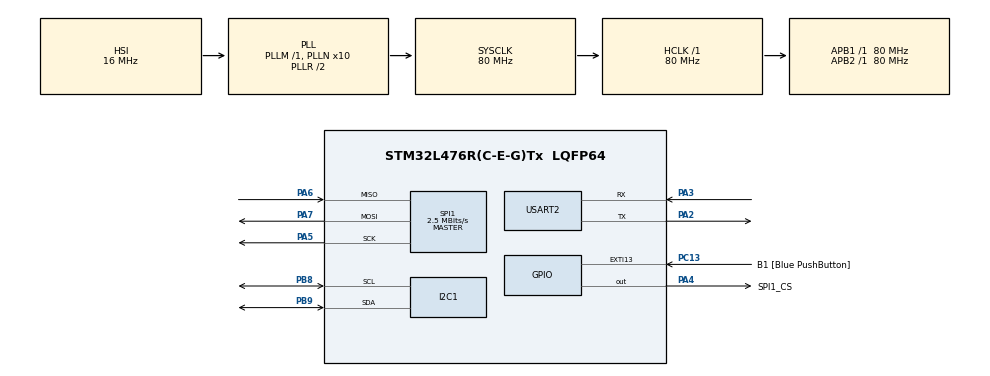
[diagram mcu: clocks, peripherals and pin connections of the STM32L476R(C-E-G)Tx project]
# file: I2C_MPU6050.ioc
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Dma.I2C1_RX.0.Direction=DMA_PERIPH_TO_MEMORY
Dma.I2C1_RX.0.Instance=DMA2_Channel6
Dma.I2C1_RX.0.MemDataAlignment=DMA_MDATAALIGN_BYTE
Dma.I2C1_RX.0.MemInc=DMA_MINC_ENABLE
Dma.I2C1_RX.0.Mode=DMA_NORMAL
Dma.I2C1_RX.0.PeriphDataAlignment=DMA_PDATAALIGN_BYTE
Dma.I2C1_RX.0.PeriphInc=DMA_PINC_DISABLE
Dma.I2C1_RX.0.Priority=DMA_PRIORITY_LOW
Dma.Request0=I2C1_RX
Dma.Request1=SPI1_RX
Dma.Request2=SPI1_TX
Dma.Request3=USART2_TX
Dma.SPI1_RX.1.Direction=DMA_PERIPH_TO_MEMORY
Dma.SPI1_RX.1.Instance=DMA1_Channel2
Dma.SPI1_RX.1.MemDataAlignment=DMA_MDATAALIGN_BYTE
Dma.SPI1_RX.1.MemInc=DMA_MINC_ENABLE
Dma.SPI1_RX.1.Mode=DMA_NORMAL
Dma.SPI1_RX.1.PeriphDataAlignment=DMA_PDATAALIGN_BYTE
Dma.SPI1_RX.1.PeriphInc=DMA_PINC_DISABLE
Dma.SPI1_RX.1.Priority=DMA_PRIORITY_LOW
Dma.SPI1_TX.2.Direction=DMA_MEMORY_TO_PERIPH
Dma.SPI1_TX.2.Instance=DMA1_Channel3
Dma.SPI1_TX.2.MemDataAlignment=DMA_MDATAALIGN_BYTE
Dma.SPI1_TX.2.MemInc=DMA_MINC_ENABLE
Dma.SPI1_TX.2.Mode=DMA_NORMAL
Dma.SPI1_TX.2.PeriphDataAlignment=DMA_PDATAALIGN_BYTE
Dma.SPI1_TX.2.PeriphInc=DMA_PINC_DISABLE
Dma.SPI1_TX.2.Priority=DMA_PRIORITY_LOW
Dma.USART2_TX.3.Direction=DMA_MEMORY_TO_PERIPH
Dma.USART2_TX.3.Instance=DMA1_Channel7
Dma.USART2_TX.3.MemDataAlignment=DMA_MDATAALIGN_BYTE
Dma.USART2_TX.3.MemInc=DMA_MINC_ENABLE
Dma.USART2_TX.3.Mode=DMA_NORMAL
Dma.USART2_TX.3.PeriphDataAlignment=DMA_PDATAALIGN_BYTE
Dma.USART2_TX.3.PeriphInc=DMA_PINC_DISABLE
Dma.USART2_TX.3.Priority=DMA_PRIORITY_LOW
I2C1.CustomTiming=Disabled
I2C1.Timing=0x10909CEC
Mcu.Family=STM32L4
Mcu.Name=STM32L476R(C-E-G)Tx
Mcu.Package=LQFP64
NVIC.DMA1_Channel2_IRQn=true\:0\:0\:false\:false\:true\:false\:true\:true
NVIC.DMA1_Channel3_IRQn=true\:0\:0\:false\:false\:true\:false\:true\:true
NVIC.DMA1_Channel7_IRQn=true\:0\:0\:false\:false\:true\:false\:true\:true
NVIC.DMA2_Channel6_IRQn=true\:0\:0\:false\:false\:true\:false\:true\:true
NVIC.I2C1_ER_IRQn=true\:1\:0\:true\:false\:true\:true\:true\:true
NVIC.I2C1_EV_IRQn=true\:1\:0\:true\:false\:true\:true\:true\:true
NVIC.PriorityGroup=NVIC_PRIORITYGROUP_4
NVIC.TIM2_IRQn=true\:0\:0\:false\:false\:true\:true\:true\:true
NVIC.USART2_IRQn=true\:0\:0\:false\:false\:true\:true\:true\:true
PA13\ (JTMS-SWDIO).GPIO_Label=TMS
PA13\ (JTMS-SWDIO).Mode=Serial_Wire
PA13\ (JTMS-SWDIO).Signal=SYS_JTMS-SWDIO
PA14\ (JTCK-SWCLK).GPIO_Label=TCK
PA14\ (JTCK-SWCLK).Mode=Serial_Wire
PA14\ (JTCK-SWCLK).Signal=SYS_JTCK-SWCLK
PA2.Mode=Asynchronous
PA2.Signal=USART2_TX
PA3.Mode=Asynchronous
PA3.Signal=USART2_RX
PA4.GPIO_Label=SPI1_CS
PA4.Signal=GPIO_Output
PA5.Mode=Full_Duplex_Master
PA5.Signal=SPI1_SCK
PA6.Mode=Full_Duplex_Master
PA6.Signal=SPI1_MISO
PA7.Mode=Full_Duplex_Master
PA7.Signal=SPI1_MOSI
PB3\ (JTDO-TRACESWO).GPIO_Label=SWO
PB3\ (JTDO-TRACESWO).Signal=SYS_JTDO-SWO
PB8.Mode=I2C
PB8.Signal=I2C1_SCL
PB9.Mode=I2C
PB9.Signal=I2C1_SDA
PC13.GPIO_Label=B1 [Blue PushButton]
PC13.GPIO_ModeDefaultEXTI=GPIO_MODE_IT_FALLING
PC13.GPIO_PuPd=GPIO_NOPULL
PC13.Signal=GPXTI13
PC14-OSC32_IN\ (PC14).Mode=LSE-External-Oscillator
PC14-OSC32_IN\ (PC14).Signal=RCC_OSC32_IN
PC15-OSC32_OUT\ (PC15).Mode=LSE-External-Oscillator
PC15-OSC32_OUT\ (PC15).Signal=RCC_OSC32_OUT
PH0-OSC_IN\ (PH0).Signal=RCC_OSC_IN
PH1-OSC_OUT\ (PH1).Signal=RCC_OSC_OUT
ProjectManager.HeapSize=0x200
ProjectManager.StackSize=0x400
ProjectManager.TargetToolchain=STM32CubeIDE
RCC.ADCFreq_Value=64000000
RCC.AHBFreq_Value=80000000
RCC.APB1Freq_Value=80000000
RCC.APB1TimFreq_Value=80000000
RCC.APB2Freq_Value=80000000
RCC.APB2TimFreq_Value=80000000
RCC.CortexFreq_Value=80000000
RCC.HCLKFreq_Value=80000000
RCC.HSE_VALUE=8000000
RCC.HSI_VALUE=16000000
RCC.MSI_VALUE=4000000
RCC.PLLN=10
RCC.PLLSourceVirtual=RCC_PLLSOURCE_HSI
RCC.PREFETCH_ENABLE=1
RCC.SYSCLKFreq_VALUE=80000000
RCC.SYSCLKSource=RCC_SYSCLKSOURCE_PLLCLK
RCC.USBFreq_Value=64000000
RCC.VCOOutputFreq_Value=160000000
SPI1.BaudRatePrescaler=SPI_BAUDRATEPRESCALER_32
SPI1.CLKPhase=SPI_PHASE_2EDGE
SPI1.CLKPolarity=SPI_POLARITY_HIGH
SPI1.CalculateBaudRate=2.5 MBits/s
SPI1.DataSize=SPI_DATASIZE_8BIT
SPI1.Direction=SPI_DIRECTION_2LINES
SPI1.Mode=SPI_MODE_MASTER
SPI1.VirtualType=VM_MASTER
STMicroelectronics.X-CUBE-ALGOBUILD.1.3.0.LibraryCcDSPOoLibraryJjDSPOoLibrary=true
TIM2.Period=9999
TIM2.Prescaler=799
USART2.VirtualMode-Asynchronous=VM_ASYNC
VP_STMicroelectronics.X-CUBE-ALGOBUILD_VS_DSPOoLibraryJjLibrary_1.3.0_1.3.0.Mode=DSPOoLibraryJjLibrary
VP_TIM2_VS_ClockSourceINT.Mode=Internal
board=NUCLEO-L476RG

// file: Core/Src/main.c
/* USER CODE BEGIN Header */
/**
  ******************************************************************************
  * @file           : main.c
  * @brief          : Main program body
  ******************************************************************************
  * @attention
  *
  * Copyright (c) 2022 STMicroelectronics.
  * All rights reserved.
  *
  * This software is licensed under terms that can be found in the LICENSE file
  * in the root directory of this software component.
  * If no LICENSE file comes with this software, it is provided AS-IS.
  *
  ******************************************************************************
  */
/* USER CODE END Header */
#include "main.h"

/* USER CODE BEGIN Includes */
#include <stdio.h>
#include "mpu6050.h"
#include "mpu9250.h"
#include "orientation_est.h"
#include "arm_math.h"
/* USER CODE END Includes */

I2C_HandleTypeDef hi2c1;
DMA_HandleTypeDef hdma_i2c1_rx;

SPI_HandleTypeDef hspi1;
DMA_HandleTypeDef hdma_spi1_rx;
DMA_HandleTypeDef hdma_spi1_tx;

TIM_HandleTypeDef htim2;

UART_HandleTypeDef huart2;
DMA_HandleTypeDef hdma_usart2_tx;

/* USER CODE BEGIN PV */
float pitch_angle_gyro;
float pitch_angle_acc_magn;
float s_test, x_test, y_test, z_test;
float s_test2, x_test2, y_test2, z_test2;
volatile uint8_t timer_flag;
mpu9250_data mpu_data;
/* USER CODE END PV */

void SystemClock_Config(void);
static void MX_GPIO_Init(void);
static void MX_USART2_UART_Init(void);
static void MX_DMA_Init(void);
static void MX_I2C1_Init(void);
static void MX_SPI1_Init(void);
static void MX_TIM2_Init(void);

int main(void)
{

  /* MCU Configuration--------------------------------------------------------*/

  /* Reset of all peripherals, Initializes the Flash interface and the Systick. */
  HAL_Init();

  /* Configure the system clock */
  SystemClock_Config();

  /* Initialize all configured peripherals */
  MX_GPIO_Init();
  MX_DMA_Init();
  MX_USART2_UART_Init();
  MX_I2C1_Init();
  MX_SPI1_Init();
  MX_TIM2_Init();
  /* USER CODE BEGIN 2 */
  // mpu6050_init();
  mpu9250_init();
  HAL_Delay(100);

  EulerAngles euler_angles, euler_angles_gyro;
  Quaternion quaternion_final, quaternion_gyro;
  uint8_t uart_counter = 0;
  HAL_TIM_Base_Start_IT(&htim2);
  HAL_TIM_Base_Start(&htim2);
  mpu9250_read_sensor(&mpu_data);
  HAL_Delay(100);
  mpu9250_read_sensor(&mpu_data);
  HAL_Delay(100);
  mpu9250_read_sensor(&mpu_data);
  HAL_Delay(100);
  estimate_euler_angles(mpu_data, &euler_angles);
  euler2quater(&quaternion_final, euler_angles);
  quaternion_gyro = quaternion_final;
  /* USER CODE END 2 */

  /* Infinite loop */
  /* USER CODE BEGIN WHILE */
  while (1)
  {
	  if (timer_flag == 1)
	  {

		  mpu9250_read_sensor(&mpu_data);
		  complementary_filter_quater(&quaternion_final, mpu_data);
		  uart_counter++;
		  if(uart_counter > 40)
		  {
			  HAL_UART_Transmit_DMA(&huart2, (uint8_t *)&quaternion_final, sizeof(quaternion_final));
			  uart_counter = 0;
		  }
		  timer_flag = 0;
	  }

    /* USER CODE END WHILE */

  }
}

void SystemClock_Config(void)
{
  RCC_OscInitTypeDef RCC_OscInitStruct = {0};
  RCC_ClkInitTypeDef RCC_ClkInitStruct = {0};

  /** Configure the main internal regulator output voltage
  */
  if (HAL_PWREx_ControlVoltageScaling(PWR_REGULATOR_VOLTAGE_SCALE1) != HAL_OK)
  {
    Error_Handler();
  }
  /** Initializes the RCC Oscillators according to the specified parameters
  * in the RCC_OscInitTypeDef structure.
  */
  RCC_OscInitStruct.OscillatorType = RCC_OSCILLATORTYPE_HSI;
  RCC_OscInitStruct.HSIState = RCC_HSI_ON;
  RCC_OscInitStruct.HSICalibrationValue = RCC_HSICALIBRATION_DEFAULT;
  RCC_OscInitStruct.PLL.PLLState = RCC_PLL_ON;
  RCC_OscInitStruct.PLL.PLLSource = RCC_PLLSOURCE_HSI;
  RCC_OscInitStruct.PLL.PLLM = 1;
  RCC_OscInitStruct.PLL.PLLN = 10;
  RCC_OscInitStruct.PLL.PLLP = RCC_PLLP_DIV7;
  RCC_OscInitStruct.PLL.PLLQ = RCC_PLLQ_DIV2;
  RCC_OscInitStruct.PLL.PLLR = RCC_PLLR_DIV2;
  if (HAL_RCC_OscConfig(&RCC_OscInitStruct) != HAL_OK)
  {
    Error_Handler();
  }
  /** Initializes the CPU, AHB and APB buses clocks
  */
  RCC_ClkInitStruct.ClockType = RCC_CLOCKTYPE_HCLK|RCC_CLOCKTYPE_SYSCLK
                              |RCC_CLOCKTYPE_PCLK1|RCC_CLOCKTYPE_PCLK2;
  RCC_ClkInitStruct.SYSCLKSource = RCC_SYSCLKSOURCE_PLLCLK;
  RCC_ClkInitStruct.AHBCLKDivider = RCC_SYSCLK_DIV1;
  RCC_ClkInitStruct.APB1CLKDivider = RCC_HCLK_DIV1;
  RCC_ClkInitStruct.APB2CLKDivider = RCC_HCLK_DIV1;

  if (HAL_RCC_ClockConfig(&RCC_ClkInitStruct, FLASH_LATENCY_4) != HAL_OK)
  {
    Error_Handler();
  }
}

static void MX_I2C1_Init(void)
{

  hi2c1.Instance = I2C1;
  hi2c1.Init.Timing = 0x10909CEC;
  hi2c1.Init.OwnAddress1 = 0;
  hi2c1.Init.AddressingMode = I2C_ADDRESSINGMODE_7BIT;
  hi2c1.Init.DualAddressMode = I2C_DUALADDRESS_DISABLE;
  hi2c1.Init.OwnAddress2 = 0;
  hi2c1.Init.OwnAddress2Masks = I2C_OA2_NOMASK;
  hi2c1.Init.GeneralCallMode = I2C_GENERALCALL_DISABLE;
  hi2c1.Init.NoStretchMode = I2C_NOSTRETCH_DISABLE;
  if (HAL_I2C_Init(&hi2c1) != HAL_OK)
  {
    Error_Handler();
  }
  /** Configure Analogue filter
  */
  if (HAL_I2CEx_ConfigAnalogFilter(&hi2c1, I2C_ANALOGFILTER_ENABLE) != HAL_OK)
  {
    Error_Handler();
  }
  /** Configure Digital filter
  */
  if (HAL_I2CEx_ConfigDigitalFilter(&hi2c1, 0) != HAL_OK)
  {
    Error_Handler();
  }

}

static void MX_SPI1_Init(void)
{

  /* SPI1 parameter configuration*/
  hspi1.Instance = SPI1;
  hspi1.Init.Mode = SPI_MODE_MASTER;
  hspi1.Init.Direction = SPI_DIRECTION_2LINES;
  hspi1.Init.DataSize = SPI_DATASIZE_8BIT;
  hspi1.Init.CLKPolarity = SPI_POLARITY_HIGH;
  hspi1.Init.CLKPhase = SPI_PHASE_2EDGE;
  hspi1.Init.NSS = SPI_NSS_SOFT;
  hspi1.Init.BaudRatePrescaler = SPI_BAUDRATEPRESCALER_32;
  hspi1.Init.FirstBit = SPI_FIRSTBIT_MSB;
  hspi1.Init.TIMode = SPI_TIMODE_DISABLE;
  hspi1.Init.CRCCalculation = SPI_CRCCALCULATION_DISABLE;
  hspi1.Init.CRCPolynomial = 7;
  hspi1.Init.CRCLength = SPI_CRC_LENGTH_DATASIZE;
  hspi1.Init.NSSPMode = SPI_NSS_PULSE_DISABLE;
  if (HAL_SPI_Init(&hspi1) != HAL_OK)
  {
    Error_Handler();
  }

}

static void MX_TIM2_Init(void)
{

  TIM_ClockConfigTypeDef sClockSourceConfig = {0};
  TIM_MasterConfigTypeDef sMasterConfig = {0};

  htim2.Instance = TIM2;
  htim2.Init.Prescaler = 79;
  htim2.Init.CounterMode = TIM_COUNTERMODE_UP;
  htim2.Init.Period = 999;
  htim2.Init.ClockDivision = TIM_CLOCKDIVISION_DIV1;
  htim2.Init.AutoReloadPreload = TIM_AUTORELOAD_PRELOAD_DISABLE;
  if (HAL_TIM_Base_Init(&htim2) != HAL_OK)
  {
    Error_Handler();
  }
  sClockSourceConfig.ClockSource = TIM_CLOCKSOURCE_INTERNAL;
  if (HAL_TIM_ConfigClockSource(&htim2, &sClockSourceConfig) != HAL_OK)
  {
    Error_Handler();
  }
  sMasterConfig.MasterOutputTrigger = TIM_TRGO_RESET;
  sMasterConfig.MasterSlaveMode = TIM_MASTERSLAVEMODE_DISABLE;
  if (HAL_TIMEx_MasterConfigSynchronization(&htim2, &sMasterConfig) != HAL_OK)
  {
    Error_Handler();
  }

}

static void MX_USART2_UART_Init(void)
{

  huart2.Instance = USART2;
  huart2.Init.BaudRate = 115200;
  huart2.Init.WordLength = UART_WORDLENGTH_8B;
  huart2.Init.StopBits = UART_STOPBITS_1;
  huart2.Init.Parity = UART_PARITY_NONE;
  huart2.Init.Mode = UART_MODE_TX_RX;
  huart2.Init.HwFlowCtl = UART_HWCONTROL_NONE;
  huart2.Init.OverSampling = UART_OVERSAMPLING_16;
  huart2.Init.OneBitSampling = UART_ONE_BIT_SAMPLE_DISABLE;
  huart2.AdvancedInit.AdvFeatureInit = UART_ADVFEATURE_NO_INIT;
  if (HAL_UART_Init(&huart2) != HAL_OK)
  {
    Error_Handler();
  }

}

static void MX_DMA_Init(void)
{

  /* DMA controller clock enable */
  __HAL_RCC_DMA2_CLK_ENABLE();
  __HAL_RCC_DMA1_CLK_ENABLE();

  /* DMA interrupt init */
  /* DMA1_Channel2_IRQn interrupt configuration */
  HAL_NVIC_SetPriority(DMA1_Channel2_IRQn, 0, 0);
  HAL_NVIC_EnableIRQ(DMA1_Channel2_IRQn);
  /* DMA1_Channel3_IRQn interrupt configuration */
  HAL_NVIC_SetPriority(DMA1_Channel3_IRQn, 0, 0);
  HAL_NVIC_EnableIRQ(DMA1_Channel3_IRQn);
  /* DMA1_Channel7_IRQn interrupt configuration */
  HAL_NVIC_SetPriority(DMA1_Channel7_IRQn, 0, 0);
  HAL_NVIC_EnableIRQ(DMA1_Channel7_IRQn);
  /* DMA2_Channel6_IRQn interrupt configuration */
  HAL_NVIC_SetPriority(DMA2_Channel6_IRQn, 0, 0);
  HAL_NVIC_EnableIRQ(DMA2_Channel6_IRQn);

}

static void MX_GPIO_Init(void)
{
  GPIO_InitTypeDef GPIO_InitStruct = {0};

  /* GPIO Ports Clock Enable */
  __HAL_RCC_GPIOC_CLK_ENABLE();
  __HAL_RCC_GPIOH_CLK_ENABLE();
  __HAL_RCC_GPIOA_CLK_ENABLE();
  __HAL_RCC_GPIOB_CLK_ENABLE();

  /*Configure GPIO pin Output Level */
  HAL_GPIO_WritePin(SPI1_CS_GPIO_Port, SPI1_CS_Pin, GPIO_PIN_RESET);

  /*Configure GPIO pin : B1_Pin */
  GPIO_InitStruct.Pin = B1_Pin;
  GPIO_InitStruct.Mode = GPIO_MODE_IT_FALLING;
  GPIO_InitStruct.Pull = GPIO_NOPULL;
  HAL_GPIO_Init(B1_GPIO_Port, &GPIO_InitStruct);

  /*Configure GPIO pin : SPI1_CS_Pin */
  GPIO_InitStruct.Pin = SPI1_CS_Pin;
  GPIO_InitStruct.Mode = GPIO_MODE_OUTPUT_PP;
  GPIO_InitStruct.Pull = GPIO_NOPULL;
  GPIO_InitStruct.Speed = GPIO_SPEED_FREQ_LOW;
  HAL_GPIO_Init(SPI1_CS_GPIO_Port, &GPIO_InitStruct);

}

/* USER CODE BEGIN 4 */
int _write(int file, char *ptr, int len)
{
	int DataIdx;

	for (DataIdx = 0; DataIdx < len; DataIdx++)
	{
		ITM_SendChar(*ptr++);
	}
	return len;
}

void HAL_TIM_PeriodElapsedCallback(TIM_HandleTypeDef *htim)
{

	if (htim == &htim2)
	{
		if(timer_flag == 1)
		{
			printf("k \n");
		}
		timer_flag = 1;

	}
}
/* USER CODE END 4 */

void Error_Handler(void)
{
  __disable_irq();
  while (1)
  {
  }
}
